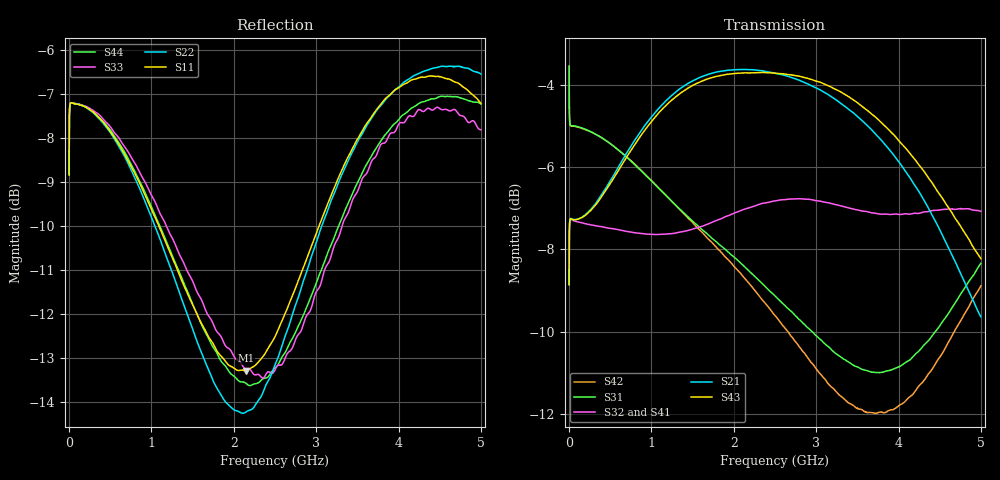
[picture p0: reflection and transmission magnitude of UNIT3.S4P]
!MINI CIRCUITS LABORATORY
!MODEL:TC1-1-13M+
!RUN/LOT/DATE CODE:MX88570
!FIXTURE USED:90-2-20-199,S/N66156
!CONNECTION:PORT1-PIN6,PORT2-PIN4,PORT3-PIN1,PORT4-PIN3; PIN 2,5-GRND
!Date: Fri Dec 14 12:17:25 2007
!Data & Calibration Information:
!Freq	S11:SOLT4(ON)	S12:SOLT4(ON)	S13:SOLT4(ON)	S14:SOLT4(ON)
!	S21:SOLT4(ON)	S22:SOLT4(ON)	S23:SOLT4(ON)	S24:SOLT4(ON)
!	S31:SOLT4(ON)	S32:SOLT4(ON)	S33:SOLT4(ON)	S34:SOLT4(ON)
!	S41:SOLT4(ON)	S42:SOLT4(ON)	S43:SOLT4(ON)	S44:SOLT4(ON)
# Hz S dB R 50
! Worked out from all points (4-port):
!   1601 points, 1 MHz to 5 GHz, reference 50 ohm
!   strongest paths, dB at 1 MHz, 1.251 GHz, 2.501 GHz, 3.75 GHz, 5 GHz:
!     S43: -8.9, -4.4, -3.7, -4.8, -8.2
!     S21: -8.9, -4.2, -3.7, -5.3, -9.6
!     S32: -8.9, -7.6, -6.8, -7.1, -7.1
!     S41: -8.9, -7.6, -6.9, -7.1, -6.9
!     S31: -3.5, -6.8, -9.1, -11.0, -8.3
!     S42: -3.5, -6.8, -9.6, -12.0, -8.9
!   lowest |S11| = -13.3 dB at 2.144 GHz (marker M1), VSWR 1.55, Z = 76.7 - j6.36 ohm
!   |S11| at or under -10 dB: 1.092 GHz to 3.033 GHz (1.941 GHz wide, 94.1 % of centre)
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1000000  -8.83 18.1  -8.86 18.2  -3.54 -9.8  -8.86 -162.0
         -8.86 18.2  -8.82 18.0  -8.86 -162.0  -3.54 -9.7
         -3.54 -9.7  -8.86 -162.0  -8.82 18.1  -8.85 18.1
         -8.87 -162.0  -3.54 -9.7  -8.85 18.1  -8.83 17.9
2.228306e8  -7.31 -6.6  -7.11 4.7  -5.10 -11.8  -7.38 165.4
            -7.11 4.7  -7.32 -7.7  -7.39 165.3  -5.10 -10.9
            -5.10 -11.8  -7.39 165.3  -7.29 -7.1  -7.12 4.5
            -7.38 165.4  -5.10 -11.0  -7.13 4.5  -7.31 -7.7
8.664519e8  -9.06 -24.4  -5.14 7.4  -6.07 -42.5  -7.60 127.1
            -5.14 7.4  -9.18 -28.0  -7.61 126.9  -6.06 -39.6
            -6.07 -42.5  -7.61 126.8  -8.81 -25.7  -5.24 7.4
            -7.61 127.1  -6.06 -39.6  -5.25 7.4  -9.01 -28.5
2.144321e9  -13.29 -10.5  -3.62 -14.1  -8.44 -99.3  -7.11 67.9
            -3.62 -14.2  -14.24 -11.3  -7.00 68.4  -8.71 -94.3
            -8.44 -99.3  -7.01 68.3  -13.25 -19.1  -3.69 -12.7
            -7.11 67.7  -8.73 -94.4  -3.70 -12.7  -13.57 -20.8
2.934788e9  -10.50 19.1  -4.01 -28.6  -9.97 -142.5  -6.90 35.6
            -4.00 -28.7  -10.74 20.8  -6.77 36.3  -10.73 -137.5
            -9.98 -142.6  -6.79 36.3  -11.90 12.9  -3.86 -26.1
            -6.91 35.5  -10.74 -137.4  -3.86 -26.0  -11.61 12.3
3.70026e9  -7.43 22.9  -5.15 -42.8  -10.97 174.4  -7.15 9.9
           -5.14 -42.9  -7.46 23.7  -7.10 11.3  -11.97 177.9
           -11.00 174.4  -7.11 11.2  -8.46 21.4  -4.74 -39.7
           -7.15 9.9  -11.99 177.8  -4.74 -39.7  -8.31 22.6
5e9  -7.20 -7.7  -9.63 -54.1  -8.30 105.2  -6.89 -33.7
     -9.64 -54.2  -6.54 -7.6  -7.07 -30.4  -8.85 109.6
     -8.34 105.1  -7.07 -30.4  -7.81 -6.1  -8.22 -51.6
     -6.89 -33.9  -8.89 109.6  -8.23 -51.5  -7.22 -1.8
